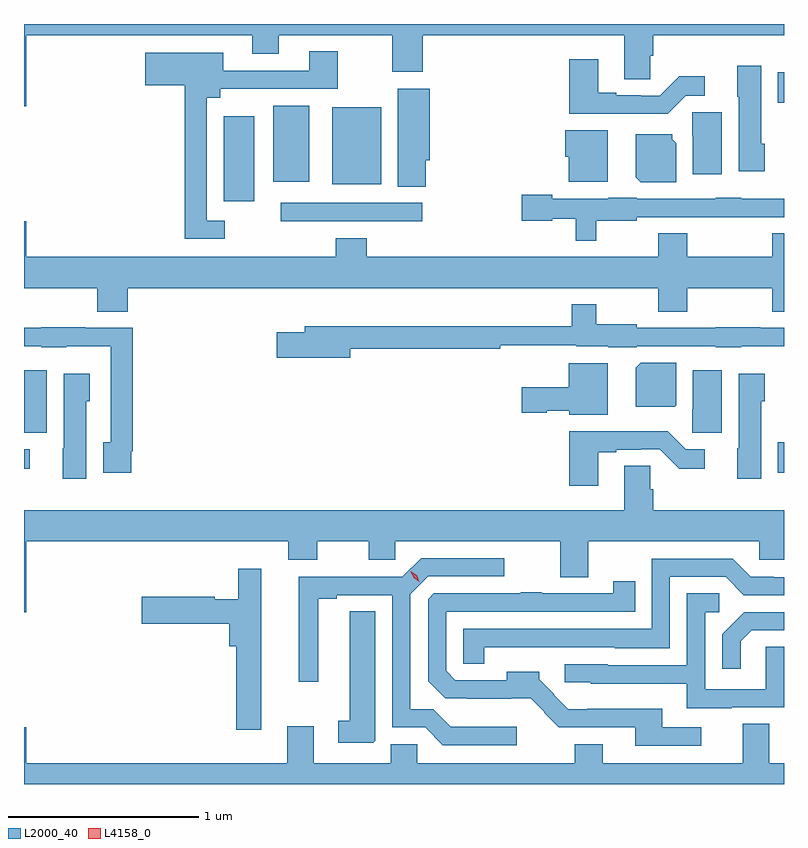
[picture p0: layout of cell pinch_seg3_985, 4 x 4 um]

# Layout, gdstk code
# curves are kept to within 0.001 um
import gdstk
lib = gdstk.Library(unit=1e-6, precision=1e-09)
def R(c, l, rs):  # rectangles x0, y0, x1, y1
    for r in rs: c.add(gdstk.rectangle(r[:2], r[2:], *l))
def P(c, l, *ps):  # polygons
    for p in ps: c.add(gdstk.Polygon(p, *l))
L2000_40 = (2000, 40)
L4158_0 = (4158, 0)

pinch_seg3_985 = lib.new_cell('pinch_seg3_985')
R(pinch_seg3_985, L2000_40, [(468.827,743.901,468.859,744.062), (464.859,743.922,464.89,744.024), (464.859,744.111,464.98,744.439), (466.209,745.224,466.954,745.32), (465.911,745.329,466.072,745.777), (466.481,745.418,466.738,745.825), (466.172,745.433,466.36,745.831), (468.827,745.847,468.859,746.008)])
P(pinch_seg3_985, L2000_40, [(464.872,746.204),(466.061,746.204),(466.061,746.105),(466.201,746.105),(466.201,746.204),(466.798,746.204),(466.798,746.01),(466.958,746.01),(466.958,746.204),(468.017,746.204),(468.017,745.972),(468.156,745.972),(468.156,746.094),(468.17,746.094),(468.17,746.204),(468.859,746.204),(468.859,746.262),(464.859,746.262),(464.859,745.83),(464.872,745.83)],
  [(465.916,745.227),(465.822,745.227),(465.822,745.874),(465.892,745.874),(465.892,745.92),(466.509,745.92),(466.509,746.119),(466.361,746.119),(466.361,746.016),(465.907,746.016),(465.907,746.11),(465.498,746.11),(465.498,745.94),(465.706,745.94),(465.706,745.131),(465.916,745.131)],
  [(468.342,745.884),(468.442,745.884),(468.442,745.987),(468.307,745.987),(468.204,745.884),(468.104,745.884),(468.104,745.887),(467.977,745.887),(467.977,745.9),(467.881,745.9),(467.881,746.077),(467.729,746.077),(467.729,745.79),(468.248,745.79)],
  [(468.757,745.632),(468.739,745.632),(468.739,746.041),(468.614,746.041),(468.614,745.878),(468.62,745.878),(468.62,745.488),(468.757,745.488)],
  [(466.973,745.545),(466.994,745.545),(466.994,745.921),(466.826,745.921),(466.826,745.405),(466.973,745.405)],
  [(468.532,745.797),(468.376,745.797),(468.376,745.674),(468.38,745.674),(468.38,745.47),(468.532,745.47)],
  [(467.932,745.702),(467.708,745.702),(467.708,745.563),(467.726,745.563),(467.726,745.433),(467.932,745.433)],
  [(468.292,745.634),(468.27,745.656),(468.27,745.681),(468.08,745.681),(468.08,745.456),(468.106,745.43),(468.292,745.43)],
  [(467.872,745.226),(468.084,745.226),(468.084,745.245),(468.501,745.245),(468.501,745.244),(468.733,745.244),(468.733,745.245),(468.859,745.245),(468.859,745.342),(468.633,745.342),(468.633,745.348),(468.501,745.348),(468.501,745.341),(468.084,745.341),(468.084,745.348),(467.934,745.348),(467.934,745.342),(467.64,745.342),(467.64,745.363),(467.478,745.363),(467.478,745.226),(467.64,745.226),(467.64,745.238),(467.763,745.238),(467.763,745.121),(467.872,745.121)],
  [(465.404,744.872),(468.196,744.872),(468.196,744.748),(468.351,744.748),(468.351,744.872),(468.796,744.872),(468.796,744.748),(468.859,744.748),(468.859,745.16),(468.796,745.16),(468.796,745.036),(468.351,745.036),(468.351,745.16),(468.196,745.16),(468.196,745.036),(466.664,745.036),(466.664,745.135),(466.499,745.135),(466.499,745.036),(464.872,745.036),(464.872,745.225),(464.859,745.225),(464.859,744.872),(465.244,744.872),(465.244,744.748),(465.404,744.748)],
  [(466.576,744.553),(467.366,744.553),(467.366,744.571),(467.766,744.571),(467.766,744.566),(467.934,744.566),(467.934,744.56),(468.084,744.56),(468.084,744.567),(468.501,744.567),(468.501,744.56),(468.633,744.56),(468.633,744.566),(468.859,744.566),(468.859,744.663),(468.733,744.663),(468.733,744.665),(468.501,744.665),(468.501,744.663),(468.084,744.663),(468.084,744.682),(467.872,744.682),(467.872,744.787),(467.743,744.787),(467.743,744.671),(466.337,744.671),(466.337,744.64),(466.188,744.64),(466.188,744.506),(466.576,744.506)],
  [(465.424,744.013),(465.431,744.013),(465.431,744.663),(465.181,744.663),(465.181,744.665),(464.949,744.665),(464.949,744.663),(464.859,744.663),(464.859,744.567),(464.949,744.567),(464.949,744.56),(465.081,744.56),(465.081,744.566),(465.315,744.566),(465.315,744.062),(465.275,744.062),(465.275,743.901),(465.424,743.901)],
  [(468.292,744.256),(468.292,744.478),(468.106,744.478),(468.08,744.452),(468.08,744.248),(468.284,744.248)],
  [(467.932,744.476),(467.726,744.476),(467.726,744.349),(467.478,744.349),(467.478,744.215),(467.61,744.215),(467.61,744.227),(467.73,744.227),(467.73,744.206),(467.932,744.206)],
  [(468.532,744.439),(468.38,744.439),(468.38,744.234),(468.376,744.234),(468.376,744.111),(468.532,744.111)],
  [(468.739,744.276),(468.757,744.276),(468.757,744.421),(468.62,744.421),(468.62,744.03),(468.614,744.03),(468.614,743.868),(468.739,743.868)],
  [(465.187,744.276),(465.205,744.276),(465.205,744.421),(465.068,744.421),(465.068,744.03),(465.062,744.03),(465.062,743.868),(465.187,743.868)],
  [(467.881,744.009),(467.977,744.009),(467.977,744.021),(468.104,744.021),(468.104,744.024),(468.204,744.024),(468.307,743.922),(468.442,743.922),(468.442,744.024),(468.342,744.024),(468.247,744.119),(467.729,744.119),(467.729,743.832),(467.881,743.832)],
  [(464.872,743.54),(466.25,743.54),(466.25,743.441),(466.402,743.441),(466.402,743.54),(466.673,743.54),(466.673,743.442),(466.812,743.442),(466.812,743.54),(467.681,743.54),(467.681,743.35),(467.829,743.35),(467.829,743.54),(468.729,743.54),(468.729,743.442),(468.859,743.442),(468.859,743.704),(468.17,743.704),(468.17,743.814),(468.156,743.814),(468.156,743.936),(468.017,743.936),(468.017,743.704),(464.859,743.704),(464.859,743.166),(464.872,743.166)],
  [(467.452,742.564),(467.105,742.564),(467.014,742.655),(466.893,742.655),(466.893,743.262),(466.986,743.355),(467.386,743.355),(467.386,743.451),(466.949,743.451),(466.85,743.352),(466.304,743.352),(466.304,742.8),(466.408,742.8),(466.408,743.236),(466.504,743.236),(466.504,743.256),(466.797,743.256),(466.797,742.56),(466.971,742.56),(467.064,742.467),(467.452,742.467)],
  [(467.281,742.982),(467.967,742.983),(467.967,742.976),(468.258,742.976),(468.258,743.352),(468.552,743.352),(468.648,743.256),(468.859,743.256),(468.859,743.349),(468.804,743.349),(468.804,743.352),(468.684,743.352),(468.588,743.448),(468.162,743.448),(468.162,743.079),(467.172,743.079),(467.172,742.894),(467.281,742.894)],
  [(466.108,743.395),(465.986,743.395),(465.986,743.235),(465.864,743.235),(465.864,743.247),(465.48,743.247),(465.48,743.105),(465.938,743.105),(465.938,742.988),(465.977,742.988),(465.977,742.548),(466.108,742.548)],
  [(468.424,742.56),(468.217,742.56),(468.217,742.657),(467.824,742.657),(467.824,742.655),(467.723,742.655),(467.646,742.731),(467.649,742.734),(467.57,742.813),(467.57,742.852),(467.399,742.852),(467.399,742.809),(467.13,742.809),(467.082,742.857),(467.082,743.169),(468.077,743.169),(468.077,743.329),(467.959,743.329),(467.959,743.265),(467.585,743.265),(467.585,743.27),(467.473,743.27),(467.473,743.265),(467.016,743.265),(466.986,743.235),(466.986,742.803),(467.075,742.714),(467.191,742.714),(467.191,742.712),(467.525,742.713),(467.599,742.639),(467.597,742.637),(467.673,742.56),(468.077,742.56),(468.077,742.464),(468.424,742.464)],
  [(468.583,742.665),(468.859,742.665),(468.859,742.985),(468.762,742.985),(468.762,742.761),(468.444,742.761),(468.444,743.166),(468.517,743.166),(468.517,743.267),(468.348,743.267),(468.348,742.887),(467.931,742.887),(467.931,742.893),(467.706,742.893),(467.706,742.797),(467.841,742.797),(467.841,742.79),(468.347,742.79),(468.347,742.661),(468.583,742.661)],
  [(466.708,742.489),(466.708,743.171),(466.574,743.171),(466.574,742.595),(466.512,742.595),(466.512,742.479),(466.698,742.479)],
  [(468.631,743.013),(468.688,743.07),(468.859,743.07),(468.859,743.166),(468.65,743.166),(468.534,743.05),(468.534,742.869),(468.631,742.869)],
  [(466.79,742.47),(466.79,742.372),(466.384,742.372),(466.384,742.567),(466.244,742.567),(466.244,742.372),(464.872,742.372),(464.872,742.561),(464.859,742.561),(464.859,742.262),(468.859,742.262),(468.859,742.372),(468.781,742.372),(468.781,742.58),(468.641,742.58),(468.641,742.372),(467.905,742.372),(467.905,742.471),(467.758,742.471),(467.758,742.372),(466.929,742.372),(466.929,742.47)])
P(pinch_seg3_985, L4158_0, [(466.94,743.326),(466.91,743.347),(466.894,743.381),(466.894,743.382),(466.895,743.382),(466.925,743.36),(466.94,743.326),(466.94,743.326)])

lib.write_gds('pinch_seg3_985.gds')
